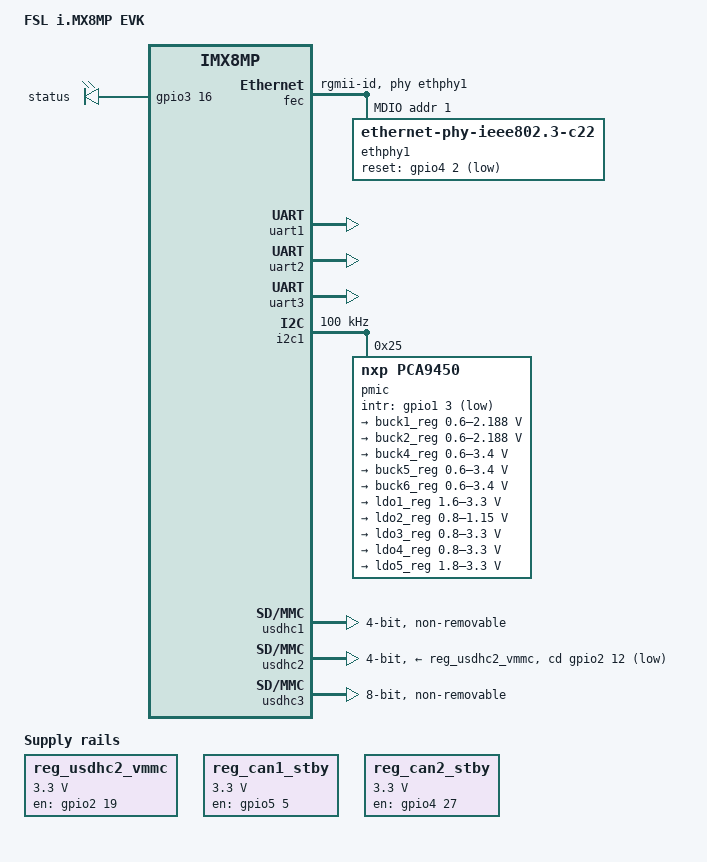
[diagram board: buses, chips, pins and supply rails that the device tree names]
// SPDX-License-Identifier: (GPL-2.0+ OR MIT)
/*
 * Copyright 2019 NXP
 */

/dts-v1/;

#include "imx8mp.dtsi"

/ {
	model = "FSL i.MX8MP EVK";
	compatible = "fsl,imx8mp-evk", "fsl,imx8mp";

	chosen {
		stdout-path = &uart2;
	};

	leds {
		compatible = "gpio-leds";
		pinctrl-names = "default";
		pinctrl-0 = <&pinctrl_gpio_led>;

		status {
			label = "status";
			gpios = <&gpio3 16 GPIO_ACTIVE_HIGH>;
			default-state = "on"; /* LED GREEN */
		};
	};

	tcm@00800000 {
		compatible = "fsl,tcm";
		reg = <0x0 0x00800000 0 0x1000>;
	};

	regulators {
		compatible = "simple-bus";
		#address-cells = <1>;
		#size-cells = <0>;

		reg_usdhc2_vmmc: regulator-usdhc2 {
			compatible = "regulator-fixed";
			regulator-name = "VSD_3V3";
			regulator-min-microvolt = <3300000>;
			regulator-max-microvolt = <3300000>;
			gpio = <&gpio2 19 GPIO_ACTIVE_HIGH>;
			enable-active-high;
			startup-delay-us = <100>;
			off-on-delay-us = <12000>;
		};

		reg_can1_stby: regulator-can1-stby {
			compatible = "regulator-fixed";
			regulator-name = "can1-stby";
			pinctrl-names = "default";
			pinctrl-0 = <&pinctrl_flexcan1_reg>;
			regulator-min-microvolt = <3300000>;
			regulator-max-microvolt = <3300000>;
			gpio = <&gpio5 5 GPIO_ACTIVE_HIGH>;
			enable-active-high;
		};

		reg_can2_stby: regulator-can2-stby {
			compatible = "regulator-fixed";
			regulator-name = "can2-stby";
			pinctrl-names = "default";
			pinctrl-0 = <&pinctrl_flexcan2_reg>;
			regulator-min-microvolt = <3300000>;
			regulator-max-microvolt = <3300000>;
			gpio = <&gpio4 27 GPIO_ACTIVE_HIGH>;
			enable-active-high;
		};

	};
};

&iomuxc {
	pinctrl-names = "default";

	imx8mp-evk {

		pinctrl_flexcan1_reg: flexcan1reggrp {
			fsl,pins = <
				MX8MP_IOMUXC_SPDIF_EXT_CLK__GPIO5_IO05	0x154	/* CAN1_STBY */
			>;
		};

		pinctrl_flexcan2_reg: flexcan2reggrp {
			fsl,pins = <
				MX8MP_IOMUXC_SAI2_MCLK__GPIO4_IO27	0x154	/* CAN2_STBY */
			>;
		};

		pinctrl_fec: fecgrp {
			fsl,pins = <
				MX8MP_IOMUXC_SAI1_RXD2__ENET1_MDC		0x3
				MX8MP_IOMUXC_SAI1_RXD3__ENET1_MDIO		0x3
				MX8MP_IOMUXC_SAI1_RXD4__ENET1_RGMII_RD0		0x91
				MX8MP_IOMUXC_SAI1_RXD5__ENET1_RGMII_RD1		0x91
				MX8MP_IOMUXC_SAI1_RXD6__ENET1_RGMII_RD2		0x91
				MX8MP_IOMUXC_SAI1_RXD7__ENET1_RGMII_RD3		0x91
				MX8MP_IOMUXC_SAI1_TXC__ENET1_RGMII_RXC		0x91
				MX8MP_IOMUXC_SAI1_TXFS__ENET1_RGMII_RX_CTL	0x91
				MX8MP_IOMUXC_SAI1_TXD0__ENET1_RGMII_TD0		0x1f
				MX8MP_IOMUXC_SAI1_TXD1__ENET1_RGMII_TD1		0x1f
				MX8MP_IOMUXC_SAI1_TXD2__ENET1_RGMII_TD2		0x1f
				MX8MP_IOMUXC_SAI1_TXD3__ENET1_RGMII_TD3		0x1f
				MX8MP_IOMUXC_SAI1_TXD4__ENET1_RGMII_TX_CTL	0x1f
				MX8MP_IOMUXC_SAI1_TXD5__ENET1_RGMII_TXC		0x1f
				MX8MP_IOMUXC_SAI1_RXD0__GPIO4_IO02		0x19
			>;
		};

		pinctrl_gpio_led: gpioledgrp {
			fsl,pins = <
				MX8MP_IOMUXC_NAND_READY_B__GPIO3_IO16	0x19
			>;
		};

		pinctrl_uart1: uart1grp {
			fsl,pins = <
				MX8MP_IOMUXC_UART1_RXD__UART1_DCE_RX	0x140
				MX8MP_IOMUXC_UART1_TXD__UART1_DCE_TX	0x140
				MX8MP_IOMUXC_UART3_RXD__UART1_DCE_CTS	0x140
				MX8MP_IOMUXC_UART3_TXD__UART1_DCE_RTS	0x140
			>;
		};

		pinctrl_uart2: uart2grp {
			fsl,pins = <
				MX8MP_IOMUXC_UART2_RXD__UART2_DCE_RX	0x49
				MX8MP_IOMUXC_UART2_TXD__UART2_DCE_TX	0x49
			>;
		};

		pinctrl_uart3: uart3grp {
			fsl,pins = <
				MX8MP_IOMUXC_ECSPI1_SCLK__UART3_DCE_RX		0x140
				MX8MP_IOMUXC_ECSPI1_MOSI__UART3_DCE_TX		0x140
				MX8MP_IOMUXC_ECSPI1_SS0__UART3_DCE_RTS		0x140
				MX8MP_IOMUXC_ECSPI1_MISO__UART3_DCE_CTS		0x140
			>;
		};

		pinctrl_i2c1: i2c1grp {
			fsl,pins = <
				MX8MP_IOMUXC_I2C1_SCL__I2C1_SCL			0x400001c3
				MX8MP_IOMUXC_I2C1_SDA__I2C1_SDA			0x400001c3
			>;
		};

		pinctrl_pmic: pmicirq {
			fsl,pins = <
				MX8MP_IOMUXC_GPIO1_IO03__GPIO1_IO03	0x41
			>;
		};

		pinctrl_usdhc1: usdhc1grp {
			fsl,pins = <
				MX8MP_IOMUXC_SD1_CLK__USDHC1_CLK	0x190
				MX8MP_IOMUXC_SD1_CMD__USDHC1_CMD	0x1d0
				MX8MP_IOMUXC_SD1_DATA0__USDHC1_DATA0	0x1d0
				MX8MP_IOMUXC_SD1_DATA1__USDHC1_DATA1	0x1d0
				MX8MP_IOMUXC_SD1_DATA2__USDHC1_DATA2	0x1d0
				MX8MP_IOMUXC_SD1_DATA3__USDHC1_DATA3	0x1d0
			>;
		};

		pinctrl_usdhc1_100mhz: usdhc1grp-100mhz {
			fsl,pins = <
				MX8MP_IOMUXC_SD1_CLK__USDHC1_CLK	0x194
				MX8MP_IOMUXC_SD1_CMD__USDHC1_CMD	0x1d4
				MX8MP_IOMUXC_SD1_DATA0__USDHC1_DATA0	0x1d4
				MX8MP_IOMUXC_SD1_DATA1__USDHC1_DATA1	0x1d4
				MX8MP_IOMUXC_SD1_DATA2__USDHC1_DATA2	0x1d4
				MX8MP_IOMUXC_SD1_DATA3__USDHC1_DATA3	0x1d4
			>;
		};

		pinctrl_usdhc1_200mhz: usdhc1grp-200mhz {
			fsl,pins = <
				MX8MP_IOMUXC_SD1_CLK__USDHC1_CLK	0x196
				MX8MP_IOMUXC_SD1_CMD__USDHC1_CMD	0x1d6
				MX8MP_IOMUXC_SD1_DATA0__USDHC1_DATA0	0x1d6
				MX8MP_IOMUXC_SD1_DATA1__USDHC1_DATA1	0x1d6
				MX8MP_IOMUXC_SD1_DATA2__USDHC1_DATA2	0x1d6
				MX8MP_IOMUXC_SD1_DATA3__USDHC1_DATA3	0x1d6
			>;
		};

		pinctrl_usdhc2_gpio: usdhc2grp-gpio {
			fsl,pins = <
				MX8MP_IOMUXC_SD2_CD_B__GPIO2_IO12 	0x1c4
				MX8MP_IOMUXC_SD2_RESET_B__GPIO2_IO19	0x41
			>;
		};

		pinctrl_usdhc2: usdhc2grp {
			fsl,pins = <
				MX8MP_IOMUXC_SD2_CLK__USDHC2_CLK	0x190
				MX8MP_IOMUXC_SD2_CMD__USDHC2_CMD	0x1d0
				MX8MP_IOMUXC_SD2_DATA0__USDHC2_DATA0	0x1d0
				MX8MP_IOMUXC_SD2_DATA1__USDHC2_DATA1	0x1d0
				MX8MP_IOMUXC_SD2_DATA2__USDHC2_DATA2	0x1d0
				MX8MP_IOMUXC_SD2_DATA3__USDHC2_DATA3	0x1d0
				MX8MP_IOMUXC_GPIO1_IO04__USDHC2_VSELECT	0xc1
			>;
		};

		pinctrl_usdhc2_100mhz: usdhc2grp-100mhz {
			fsl,pins = <
				MX8MP_IOMUXC_SD2_CLK__USDHC2_CLK	0x194
				MX8MP_IOMUXC_SD2_CMD__USDHC2_CMD	0x1d4
				MX8MP_IOMUXC_SD2_DATA0__USDHC2_DATA0	0x1d4
				MX8MP_IOMUXC_SD2_DATA1__USDHC2_DATA1	0x1d4
				MX8MP_IOMUXC_SD2_DATA2__USDHC2_DATA2	0x1d4
				MX8MP_IOMUXC_SD2_DATA3__USDHC2_DATA3	0x1d4
				MX8MP_IOMUXC_GPIO1_IO04__USDHC2_VSELECT 0xc1
			>;
		};

		pinctrl_usdhc2_200mhz: usdhc2grp-200mhz {
			fsl,pins = <
				MX8MP_IOMUXC_SD2_CLK__USDHC2_CLK	0x196
				MX8MP_IOMUXC_SD2_CMD__USDHC2_CMD	0x1d6
				MX8MP_IOMUXC_SD2_DATA0__USDHC2_DATA0	0x1d6
				MX8MP_IOMUXC_SD2_DATA1__USDHC2_DATA1	0x1d6
				MX8MP_IOMUXC_SD2_DATA2__USDHC2_DATA2	0x1d6
				MX8MP_IOMUXC_SD2_DATA3__USDHC2_DATA3	0x1d6
				MX8MP_IOMUXC_GPIO1_IO04__USDHC2_VSELECT 0xc1
			>;
		};

		pinctrl_usdhc3: usdhc3grp {
			fsl,pins = <
				MX8MP_IOMUXC_NAND_WE_B__USDHC3_CLK	0x190
				MX8MP_IOMUXC_NAND_WP_B__USDHC3_CMD	0x1d0
				MX8MP_IOMUXC_NAND_DATA04__USDHC3_DATA0	0x1d0
				MX8MP_IOMUXC_NAND_DATA05__USDHC3_DATA1	0x1d0
				MX8MP_IOMUXC_NAND_DATA06__USDHC3_DATA2	0x1d0
				MX8MP_IOMUXC_NAND_DATA07__USDHC3_DATA3	0x1d0
				MX8MP_IOMUXC_NAND_RE_B__USDHC3_DATA4	0x1d0
				MX8MP_IOMUXC_NAND_CE2_B__USDHC3_DATA5	0x1d0
				MX8MP_IOMUXC_NAND_CE3_B__USDHC3_DATA6	0x1d0
				MX8MP_IOMUXC_NAND_CLE__USDHC3_DATA7	0x1d0
				MX8MP_IOMUXC_NAND_CE1_B__USDHC3_STROBE	0x190
			>;
		};

		pinctrl_usdhc3_100mhz: usdhc3grp-100mhz {
			fsl,pins = <
				MX8MP_IOMUXC_NAND_WE_B__USDHC3_CLK	0x194
				MX8MP_IOMUXC_NAND_WP_B__USDHC3_CMD	0x1d4
				MX8MP_IOMUXC_NAND_DATA04__USDHC3_DATA0	0x1d4
				MX8MP_IOMUXC_NAND_DATA05__USDHC3_DATA1	0x1d4
				MX8MP_IOMUXC_NAND_DATA06__USDHC3_DATA2	0x1d4
				MX8MP_IOMUXC_NAND_DATA07__USDHC3_DATA3	0x1d4
				MX8MP_IOMUXC_NAND_RE_B__USDHC3_DATA4	0x1d4
				MX8MP_IOMUXC_NAND_CE2_B__USDHC3_DATA5	0x1d4
				MX8MP_IOMUXC_NAND_CE3_B__USDHC3_DATA6	0x1d4
				MX8MP_IOMUXC_NAND_CLE__USDHC3_DATA7	0x1d4
				MX8MP_IOMUXC_NAND_CE1_B__USDHC3_STROBE	0x194
			>;
		};

		pinctrl_usdhc3_200mhz: usdhc3grp-200mhz {
			fsl,pins = <
				MX8MP_IOMUXC_NAND_WE_B__USDHC3_CLK	0x196
				MX8MP_IOMUXC_NAND_WP_B__USDHC3_CMD	0x1d6
				MX8MP_IOMUXC_NAND_DATA04__USDHC3_DATA0	0x1d6
				MX8MP_IOMUXC_NAND_DATA05__USDHC3_DATA1	0x1d6
				MX8MP_IOMUXC_NAND_DATA06__USDHC3_DATA2	0x1d6
				MX8MP_IOMUXC_NAND_DATA07__USDHC3_DATA3	0x1d6
				MX8MP_IOMUXC_NAND_RE_B__USDHC3_DATA4	0x1d6
				MX8MP_IOMUXC_NAND_CE2_B__USDHC3_DATA5	0x1d6
				MX8MP_IOMUXC_NAND_CE3_B__USDHC3_DATA6	0x1d6
				MX8MP_IOMUXC_NAND_CLE__USDHC3_DATA7	0x1d6
				MX8MP_IOMUXC_NAND_CE1_B__USDHC3_STROBE	0x196
			>;
		};
	};
};

&fec {
	pinctrl-names = "default";
	pinctrl-0 = <&pinctrl_fec>;
	phy-mode = "rgmii-id";
	phy-handle = <&ethphy1>;
	fsl,magic-packet;
	status = "okay";

	mdio {
		#address-cells = <1>;
		#size-cells = <0>;

		ethphy1: ethernet-phy@1 {
			compatible = "ethernet-phy-ieee802.3-c22";
			reg = <1>;
			eee-broken-1000t;
			reset-gpios = <&gpio4 2 GPIO_ACTIVE_LOW>;
		};
	};
};

&uart1 { /* BT */
	pinctrl-names = "default";
	pinctrl-0 = <&pinctrl_uart1>;
	assigned-clocks = <&clk IMX8MP_CLK_UART1>;
	assigned-clock-parents = <&clk IMX8MP_SYS_PLL1_80M>;
	fsl,uart-has-rtscts;
	status = "okay";
};

&uart2 {
	/* console */
	pinctrl-names = "default";
	pinctrl-0 = <&pinctrl_uart2>;
	status = "okay";
};

&uart3 {
	pinctrl-names = "default";
	pinctrl-0 = <&pinctrl_uart3>;
	assigned-clocks = <&clk IMX8MP_CLK_UART3>;
	assigned-clock-parents = <&clk IMX8MP_SYS_PLL1_80M>;
	fsl,uart-has-rtscts;
	status = "okay";
};

&i2c1 {
	clock-frequency = <100000>;
	pinctrl-names = "default";
	pinctrl-0 = <&pinctrl_i2c1>;
	status = "okay";

	pmic: pca9450@25 {
		reg = <0x25>;
		compatible = "nxp,pca9450";
		/* PMIC PCA9450 PMIC_nINT GPIO1_IO3 */
		pinctrl-0 = <&pinctrl_pmic>;
		gpio_intr = <&gpio1 3 GPIO_ACTIVE_LOW>;

		regulators {
			#address-cells = <1>;
			#size-cells = <0>;

			pca9450,pmic-buck2-uses-i2c-dvs;
			/* Run/Standby voltage */
			pca9450,pmic-buck2-dvs-voltage = <950000>, <850000>;

			buck1_reg: regulator@0 {
				reg = <0>;
				regulator-compatible = "buck1";
				regulator-min-microvolt = <600000>;
				regulator-max-microvolt = <2187500>;
				regulator-boot-on;
				regulator-always-on;
				regulator-ramp-delay = <3125>;
			};

			buck2_reg: regulator@1 {
				reg = <1>;
				regulator-compatible = "buck2";
				regulator-min-microvolt = <600000>;
				regulator-max-microvolt = <2187500>;
				regulator-boot-on;
				regulator-always-on;
				regulator-ramp-delay = <3125>;
			};

			buck4_reg: regulator@3 {
				reg = <3>;
				regulator-compatible = "buck4";
				regulator-min-microvolt = <600000>;
				regulator-max-microvolt = <3400000>;
				regulator-boot-on;
				regulator-always-on;
			};

			buck5_reg: regulator@4 {
				reg = <4>;
				regulator-compatible = "buck5";
				regulator-min-microvolt = <600000>;
				regulator-max-microvolt = <3400000>;
				regulator-boot-on;
				regulator-always-on;
			};

			buck6_reg: regulator@5 {
				reg = <5>;
				regulator-compatible = "buck6";
				regulator-min-microvolt = <600000>;
				regulator-max-microvolt = <3400000>;
				regulator-boot-on;
				regulator-always-on;
			};

			ldo1_reg: regulator@6 {
				reg = <6>;
				regulator-compatible = "ldo1";
				regulator-min-microvolt = <1600000>;
				regulator-max-microvolt = <3300000>;
				regulator-boot-on;
				regulator-always-on;
			};

			ldo2_reg: regulator@7 {
				reg = <7>;
				regulator-compatible = "ldo2";
				regulator-min-microvolt = <800000>;
				regulator-max-microvolt = <1150000>;
				regulator-boot-on;
				regulator-always-on;
			};

			ldo3_reg: regulator@8 {
				reg = <8>;
				regulator-compatible = "ldo3";
				regulator-min-microvolt = <800000>;
				regulator-max-microvolt = <3300000>;
				regulator-boot-on;
				regulator-always-on;
			};

			ldo4_reg: regulator@9 {
				reg = <9>;
				regulator-compatible = "ldo4";
				regulator-min-microvolt = <800000>;
				regulator-max-microvolt = <3300000>;
				regulator-boot-on;
				regulator-always-on;
			};

			ldo5_reg: regulator@10 {
				reg = <10>;
				regulator-compatible = "ldo5";
				regulator-min-microvolt = <1800000>;
				regulator-max-microvolt = <3300000>;
			};
		};
	};
};

&usdhc1 {
	pinctrl-names = "default", "state_100mhz", "state_200mhz";
	pinctrl-0 = <&pinctrl_usdhc1>;
	pinctrl-1 = <&pinctrl_usdhc1_100mhz>;
	pinctrl-2 = <&pinctrl_usdhc1_200mhz>;
	bus-width = <4>;
	non-removable;
	status = "okay";
};

&usdhc2 {
	pinctrl-names = "default", "state_100mhz", "state_200mhz";
	pinctrl-0 = <&pinctrl_usdhc2>, <&pinctrl_usdhc2_gpio>;
	pinctrl-1 = <&pinctrl_usdhc2_100mhz>, <&pinctrl_usdhc2_gpio>;
	pinctrl-2 = <&pinctrl_usdhc2_200mhz>, <&pinctrl_usdhc2_gpio>;
	cd-gpios = <&gpio2 12 GPIO_ACTIVE_LOW>;
	vmmc-supply = <&reg_usdhc2_vmmc>;
	bus-width = <4>;
	status = "okay";
};

&usdhc3 {
	pinctrl-names = "default", "state_100mhz", "state_200mhz";
	pinctrl-0 = <&pinctrl_usdhc3>;
	pinctrl-1 = <&pinctrl_usdhc3_100mhz>;
	pinctrl-2 = <&pinctrl_usdhc3_200mhz>;
	bus-width = <8>;
	non-removable;
	status = "okay";
};

&A53_0 {
	cpu-supply = <&buck2_reg>;
};
